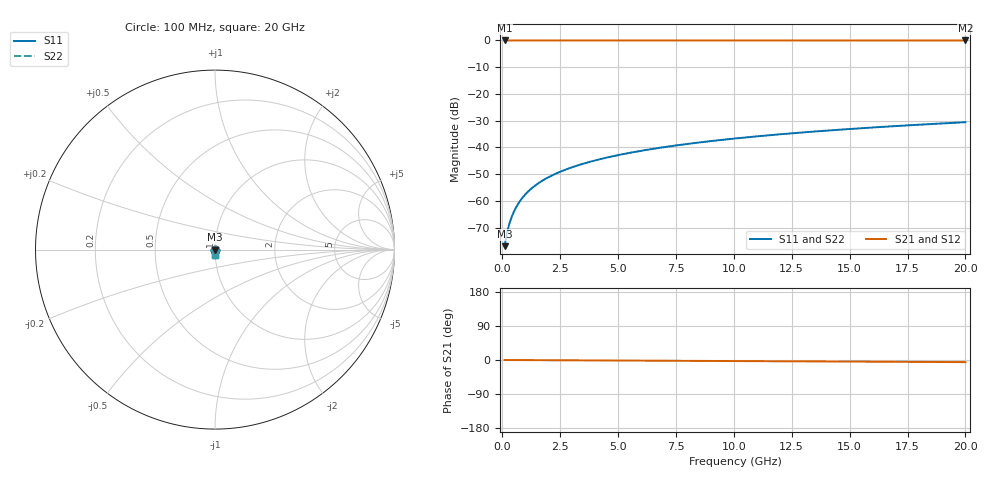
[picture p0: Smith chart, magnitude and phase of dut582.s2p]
! Touchstone file exported from HFSS 2026.1.0
!  File:  C:/ffzhzh/LocalFiles/Ansys_Project_Files/temp_train_TSV_582_1783025052_46388.aedt
!  Generated:  04:45:42 AM Jul  3, 2026
!  Design:  TSV
!  Project:  temp_train_TSV_582_1783025052_46388
! Variables:
!  h_bsmrdl = 2um
!  h_ox = 20um
!  h_rdl = 5um
!  h_sub = 53.04um
!  h_tmrdl = 5um
!  h_tsv = 53.04um
!  h_via = 3um
!  l_bsmrdl = 300um
!  l_sub = 422.18um
!  l_tmrdl = 200um
!  m_sub = 200um
!  pitch = 33.66um
!  r_tsv = 11.09um
!  s_tmrdl = 10um
!  w_bsmrdl = 18um
!  w_sub = 500um
!  w_tmrdl = 12um
!  x_tsv_center1 = 206um
!  x_tsv_center2 = 524um
!  x_tsv_center3 = 736um
!  x_tsv_center4 = 1054um
!  x_tsv_center5 = 1266um
!  x_tsv_center6 = 1584um
# GHz S MA R 50.000000
! Terminal data exported
! Port[1] = TSV1_1_T1
! Port[2] = TSV1_1_T2
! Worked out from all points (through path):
!   200 points, 100 MHz to 20 GHz, reference 50 ohm
!   highest |S21| = 0.00 dB at 100 MHz (marker M1); lowest = 0.0 dB at 20 GHz (marker M2)
!   lowest |S11| = -76.9 dB at 100 MHz (marker M3), VSWR 1.00, Z = 50 - j0.0114 ohm
!   |S11| at or under -10 dB: start of sweep to end of sweep
!   |S22| runs from -76.9 to -30.6 dB; largest |S21 - S12| = 4e-15
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0.1  0.0001432 -52.7  0.9999 -0.0  0.9999 -0.0  0.0001432 -52.7
! Gamma 0 0 0 0
! Port Impedance 50 0 50 0
0.2  0.0002504 -67.1  0.9999 -0.1  0.9999 -0.1  0.0002504 -67.1
0.3  0.00037 -72.2  0.9999 -0.1  0.9999 -0.1  0.00037 -72.2
0.4  0.0004971 -74.7  0.9999 -0.1  0.9999 -0.1  0.0004971 -74.7
0.5  0.00063 -76.2  0.9998 -0.1  0.9998 -0.1  0.00063 -76.2
0.7  0.0009076 -78.3  0.9998 -0.2  0.9998 -0.2  0.0009076 -78.3
0.8  0.00105 -79.1  0.9998 -0.2  0.9998 -0.2  0.00105 -79.1
1  0.001338 -80.4  0.9998 -0.3  0.9998 -0.3  0.001338 -80.4
1.2  0.001629 -81.5  0.9997 -0.3  0.9997 -0.3  0.001629 -81.5
1.4  0.00192 -82.4  0.9997 -0.4  0.9997 -0.4  0.00192 -82.4
1.7  0.002358 -83.4  0.9997 -0.5  0.9997 -0.5  0.002358 -83.4
2  0.002795 -84.2  0.9997 -0.6  0.9997 -0.6  0.002795 -84.2
2.7  0.003815 -85.5  0.9996 -0.8  0.9996 -0.8  0.003815 -85.5
3.5  0.004986 -86.5  0.9996 -1.0  0.9996 -1.0  0.004986 -86.5
4.2  0.006015 -87.1  0.9996 -1.2  0.9996 -1.2  0.006015 -87.1
5  0.007196 -87.7  0.9995 -1.4  0.9995 -1.4  0.007196 -87.7
6.8  0.009871 -88.7  0.9994 -1.9  0.9994 -1.9  0.009871 -88.7
8.3  0.01211 -89.4  0.9993 -2.3  0.9993 -2.3  0.01211 -89.4
10.1  0.01481 -90.2  0.9992 -2.8  0.9992 -2.8  0.01481 -90.2
13.4  0.01975 -91.5  0.999 -3.7  0.999 -3.7  0.01975 -91.5
16.7  0.02471 -92.6  0.9988 -4.7  0.9988 -4.7  0.02471 -92.6
20  0.02967 -93.7  0.9986 -5.6  0.9986 -5.6  0.02967 -93.7
